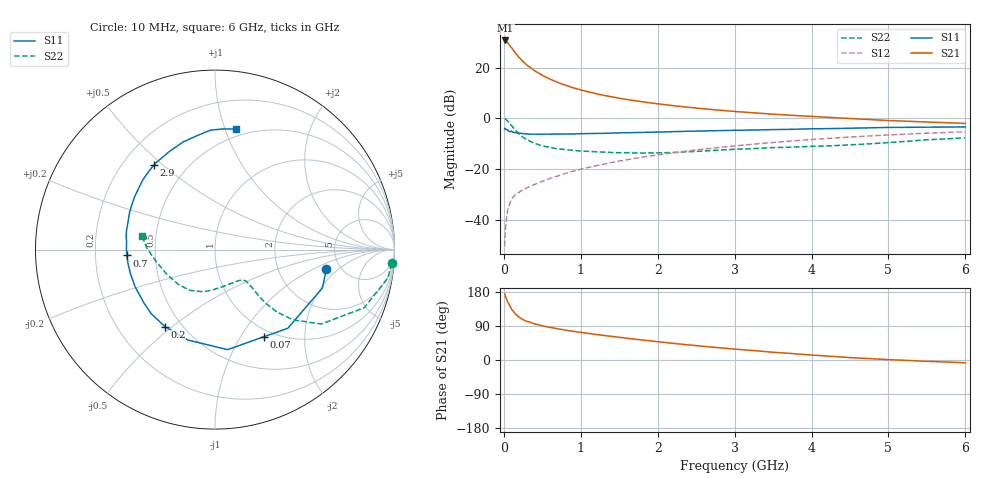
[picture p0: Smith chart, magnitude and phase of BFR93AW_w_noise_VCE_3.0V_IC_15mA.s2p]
! (c) 2017  Infineon Technologies AG, Munich
! Infineon Technologies  Discrete & RF Semiconductors
! BFR93AW
! VCE =  3.0 V,  IC =  15 mA
! Common Emitter S-Parameters:  Jan 2017
# GHz  S  MA  R  50
!  f  S11  S21  S12  S22
! GHz  MAG  ANG  MAG  ANG  MAG  ANG  MAG  ANG
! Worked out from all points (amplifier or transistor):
!   77 points, 10 MHz to 6 GHz, reference 50 ohm
!   highest |S21| = 30.8 dB at 20 MHz (marker M1)
!   |S21| within 3 dB of that: start of sweep to 103.9 MHz
!   unconditionally stable (mu >= 1): 684 MHz to 2.149 GHz
!   at 130 MHz: K = 0.40, MSG = 28.8 dB, |S12| = -30.8 dB
!   at 2.2 GHz: K = 1.00, MSG = 9.3 dB, |S12| = -13.6 dB
!   at 6 GHz: K = 0.89, MSG = 1.7 dB, |S12| = -5.3 dB
!   lowest NFmin = 1.37 dB at 450 MHz
!   S11 on the Smith chart (normalised r, x): 10 MHz: 3.86, -1.40; 70 MHz: 0.90, -1.27; 200 MHz: 0.41, -0.47; 700 MHz: 0.34, -0.03; 2.9 GHz: 0.33, +0.47; 6 GHz: 0.43, +1.09
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0.01  0.6297 -10.0  34.73 174.1  0.003 87.4  0.9869 -4.5
0.02  0.6357 -19.7  34.83 168.7  0.0063 82.8  0.9764 -9.3
0.05  0.5971 -47.2  31.47 153.0  0.0152 71.1  0.8921 -21.3
0.07  0.5565 -60.8  28.55 146.3  0.0194 65.6  0.8189 -26.1
0.1  0.5617 -82.8  25.11 133.7  0.0258 60.8  0.7226 -35.0
0.15  0.526 -106.7  19.77 121.2  0.0311 54.9  0.585 -42.0
0.2  0.5117 -123.1  15.99 112.7  0.035 53.8  0.49 -45.2
0.25  0.5037 -134.9  13.33 106.4  0.0395 53.7  0.4258 -46.4
0.3  0.4951 -143.3  11.36 102.1  0.0426 54.7  0.3786 -46.7
0.4  0.491 -155.5  8.777 95.2  0.0498 57.8  0.322 -46.2
0.5  0.4899 -164.3  7.109 90.2  0.0574 59.8  0.2882 -45.6
0.6  0.4909 -170.9  5.992 86.0  0.0654 61.2  0.2669 -45.3
0.7  0.492 -176.2  5.163 82.4  0.073 63.2  0.2524 -45.3
0.9  0.4944 175.1  4.052 75.8  0.0904 64.9  0.2346 -46.9
1.1  0.5041 168.1  3.359 70.2  0.1079 66.0  0.224 -49.7
1.5  0.5192 156.6  2.515 59.9  0.1439 65.6  0.2105 -59.0
2.1  0.5437 142.1  1.871 46.2  0.2004 62.7  0.2109 -78.7
2.9  0.5803 126.0  1.418 30.6  0.2775 56.5  0.2415 -105.1
3.1  0.5875 122.2  1.344 27.2  0.2969 54.6  0.249 -110.9
4.1  0.6277 105.0  1.077 11.8  0.3934 44.4  0.2838 -140.0
5.1  0.6672 90.8  0.899 0.1  0.4805 33.0  0.3425 -171.5
6  0.6813 80.3  0.799 -7.3  0.5461 22.7  0.4146 169.3
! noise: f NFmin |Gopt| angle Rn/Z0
0.45  1.37  0.12  133  0.13
0.9  1.66  0.23  164  0.14
1.9  2.67  0.47  -144  0.2
2.4  3.3  0.54  -129  0.4
